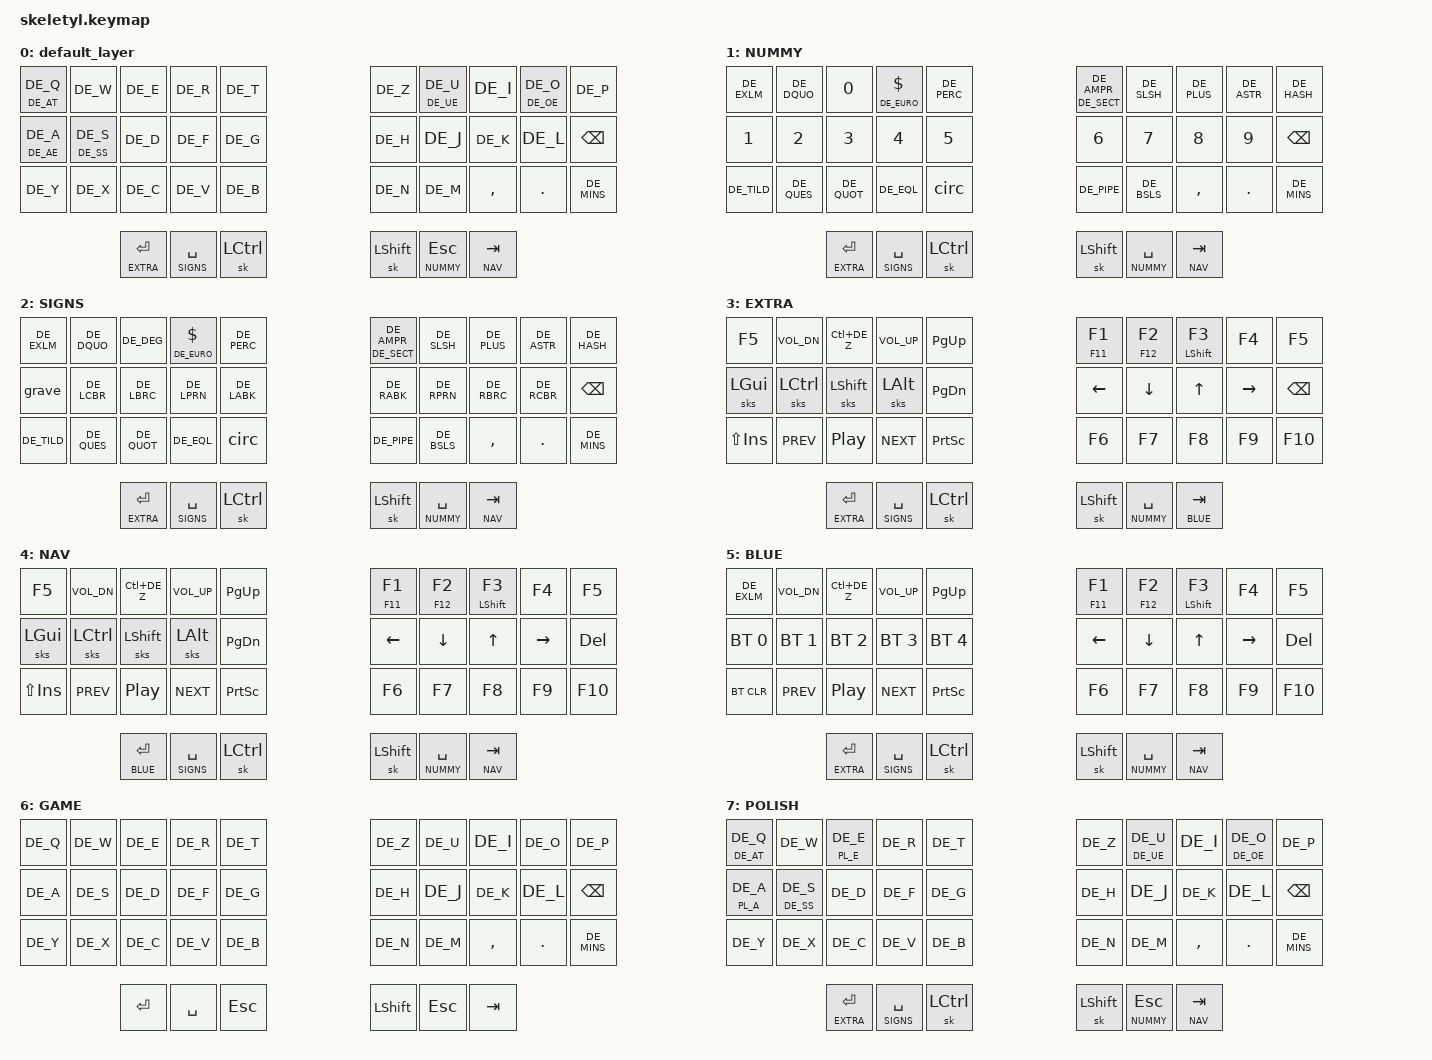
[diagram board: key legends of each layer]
#include "german-keymap.h"
#include <behaviors.dtsi>
#include <dt-bindings/zmk/keys.h>
#include <dt-bindings/zmk/bt.h>


#define DEFAULT 0
#define NUMMY   1
#define SIGNS   2
#define EXTRA   3
#define NAV   4
#define BLUE   5
#define GAME   6
#define POLISH   7

&kscan0 {
    debounce-press-ms = <20>;
    debounce-release-ms = <20>;
};

&mt {
  flavor = "tap-preferred";
  tapping-term-ms = <180>;
} ;
&lt {
  tapping-term-ms = <160>;
} ;
&sk {
    quick-release;
    release-after-ms = <200>;
};

/ {
    behaviors {
      sks: sticky_key_quick_release {
        compatible = "zmk,behavior-sticky-key";
        #binding-cells = <1>;
        bindings = <&kp>;
        release-after-ms = <1000>;
        quick-release;
        ignore-modifiers;
      };
    };
};

/ {
    combos {
        compatible = "zmk,combos";
        combo_rgui {
            timeout-ms = <80>;
            key-positions = <16 17 34>;
            layers = <0 1 2 3 4 5>;
            bindings = <&asw>;
        };
        combo_lgui {
            timeout-ms = <80>;
            key-positions = <12 13 31>;
            layers = <0 1 2 3 4 5>;
            bindings = <&kp LGUI>;
        };
        combo_esc {
            timeout-ms = <80>;
            key-positions = <11 12 13 31>;
            layers = <0 1 2 3 4 5>;
            bindings = <&kp ESC>;
        };
        combo_del {
            timeout-ms = <80>;
            key-positions = <1 2 3>;
            layers = <0 1 2 3 4 5>;
            bindings = <&kp DEL>;
        };
        combo_bspc {
            timeout-ms = <80>;
            key-positions = <21 22 23>;
            layers = <0 1 2 3 4 5>;
            bindings = <&kp BSPC>;
        };
        fishy {
            timeout-ms = <80>;
            key-positions = <17 18 34 >;
            layers = <0 1 2 3 4 5>;
            bindings = <&kp LA(M)>;
        };
        gui {
            timeout-ms = <60>;
            key-positions = <30 35>;
            layers = <0 1 2 3 4 5>;
            bindings = <&sk LGUI>;
        };
        tmux {
            timeout-ms = <80>;
            key-positions = <11 12 31>;
            layers = <0 1 2 3 4 5>;
            bindings = <&kp LA(J)>;
        };
        combo_flip_to_06 {
            timeout-ms = <80>;
            key-positions = <30 31 32>;
            layers = <0>;
            bindings = <&to 6>;
        };

        // When you're on layer 1, the same combo jumps back TO layer 0:
        combo_flip_to_60 {
            timeout-ms = <80>;
            key-positions = <30 31 32>;
            layers = <6>;
            bindings = <&to 0>;
        };

        combo_flip_to_07 {
            timeout-ms = <80>;
            key-positions = <33 34 35>;
            layers = <0>;
            bindings = <&to 7>;
        };

        // When you're on layer 1, the same combo jumps back TO layer 0:
        combo_flip_to_70 {
            timeout-ms = <80>;
            key-positions = <33 34 35>;
            layers = <6>;
            bindings = <&to 0>;
        };
    };
};

/ {

   macros {

        grave: grave {
            label = "grave";
            compatible = "zmk,behavior-macro";
            #binding-cells = <0>;
    wait-ms = <0>;
            bindings
                = <&macro_tap_time 0>
                , <&macro_tap &kp DE_GRV &kp DE_GRV>
                ;
        };

        asw: asw {
            label = "app-switch";
            compatible = "zmk,behavior-macro";
            #binding-cells = <0>;
    wait-ms = <0>;
            bindings
            = <&macro_press &mo NUMMY &kp RGUI>
            , <&macro_pause_for_release>
            , <&macro_release &mo NUMMY &kp RGUI>;
        };

        fish: fish {
            label = "fish";
            compatible = "zmk,behavior-macro";
            #binding-cells = <0>;
    wait-ms = <0>;
            bindings
                = <&macro_tap_time 0>
                //, <&macro_tap &kp DE_OE &kp DE_OE>
                , <&macro_tap &kp DE_OE>
                , <&macro_wait_time 30>
                , <&macro_tap &kp DE_OE>
                ;
        };

        circ: circ {
            label = "circ";
            compatible = "zmk,behavior-macro";
            #binding-cells = <0>;
    wait-ms = <0>;
            bindings
                = <&macro_tap_time 0>
                , <&macro_tap &kp DE_CIRC &kp DE_CIRC>
                ;
        };

    };
    behaviors {
        hm: homerow_mods {
            compatible = "zmk,behavior-hold-tap";
            label = "HOMEROW_MODS";
            #binding-cells = <2>;
            tapping-term-ms = <150>;
            quick-tap-ms = <0>;
            flavor = "tap-preferred";
            bindings = <&kp>, <&kp>;
        };
        pht: positional_hold_tap {
            compatible = "zmk,behavior-hold-tap";
            label = "POSITIONAL_HOLD_TAP";
            #binding-cells = <2>;
            flavor = "hold-preferred";
            tapping-term-ms = <180>;
            quick-tap-ms = <180>;
            bindings = <&kp>, <&kp>;
            hold-trigger-key-positions = <29>;
        };
        td_copy: td_copy {
            compatible = "zmk,behavior-tap-dance";
            label = "TD_COPY";
            #binding-cells = <0>;
            tapping-term-ms = <200>;
            bindings = <&kp LC(DE_C)>, <&kp LS(LC(DE_C))>;
        };
        td_paste: td_paste {
            compatible = "zmk,behavior-tap-dance";
            label = "TD_PASTE";
            #binding-cells = <0>;
            tapping-term-ms = <200>;
            bindings = <&kp LC(DE_V)>, <&kp LS(LC(DE_V))>;
        };
        f111: f111 {
            compatible = "zmk,behavior-tap-dance";
            label = "F111";
            #binding-cells = <0>;
            tapping-term-ms = <200>;
            bindings = <&kp F1>, <&kp F11>;
        };
        f212: f212 {
            compatible = "zmk,behavior-tap-dance";
            label = "F212";
            #binding-cells = <0>;
            tapping-term-ms = <200>;
            bindings = <&kp F2>, <&kp F12>;
        };
    };

    keymap {
        compatible = "zmk,keymap";

        default_layer {
            bindings = <
&pht DE_AT DE_Q  &kp DE_W  &kp DE_E  &kp DE_R  &kp DE_T             &kp DE_Z  &pht DE_UE DE_U  &kp DE_I &pht DE_OE DE_O  &kp DE_P
&pht DE_AE DE_A  &pht DE_SS DE_S  &kp DE_D  &kp DE_F &kp DE_G       &kp DE_H  &kp DE_J  &kp DE_K  &kp DE_L  &kp BSPC
&kp DE_Y  &kp DE_X  &kp DE_C  &kp DE_V  &kp DE_B                    &kp DE_N  &kp DE_M  &kp COMMA  &kp DOT  &kp DE_MINS
             &lt EXTRA RET &lt SIGNS SPACE &sk LCTRL                &sk LSHFT  &lt NUMMY ESC &lt NAV TAB
            >;
        };

        NUMMY  {
                bindings = <
&kp DE_EXLM &kp DE_DQUO &kp N0 &mt DE_EURO DLLR &kp DE_PERC        &mt DE_SECT DE_AMPR &kp DE_SLSH &kp DE_PLUS &kp DE_ASTR &kp DE_HASH
&kp N1 &kp N2 &kp N3 &kp N4 &kp N5                                 &kp N6 &kp N7 &kp N8 &kp N9 &kp BSPC
&kp DE_TILD &kp DE_QUES &kp DE_QUOT &kp DE_EQL &circ               &kp DE_PIPE &kp DE_BSLS &kp COMMA &kp DOT &kp DE_MINS
               &lt EXTRA RET &lt SIGNS SPACE &sk LCTRL                 &sk LSHFT  &lt NUMMY SPACE &lt NAV TAB
                >;
            };

        SIGNS  {
                bindings = <
&kp DE_EXLM &kp DE_DQUO &kp DE_DEG &mt DE_EURO DLLR &kp DE_PERC  &mt DE_SECT DE_AMPR &kp DE_SLSH &kp DE_PLUS &kp DE_ASTR &kp DE_HASH
&grave &kp DE_LCBR &kp DE_LBRC &kp DE_LPRN &kp DE_LABK           &kp DE_RABK &kp DE_RPRN &kp DE_RBRC &kp DE_RCBR &kp BSPC
&kp DE_TILD &kp DE_QUES &kp DE_QUOT &kp DE_EQL &circ             &kp DE_PIPE &kp DE_BSLS &kp COMMA &kp DOT &kp DE_MINS
               // &lt EXTRA RET &mo EXTRA &lt SIGNS SPACE &sk LCTRL                 &sk LSHFT  &lt NUMMY SPACE &lt NAV TAB 
               &lt EXTRA RET &lt SIGNS SPACE &sk LCTRL                 &sk LSHFT  &lt NUMMY SPACE &lt NAV TAB
                >;
            };

         EXTRA {
                bindings = <
&kp F5 &kp C_VOL_DN &kp LC(DE_Z) &kp C_VOL_UP &kp PG_UP   &mt F11 F1 &mt F12 F2 &hm LSHFT F3 &kp F4 &kp F5
&sks LGUI &sks LCTRL &sks LSHFT &sks LALT &kp PG_DN                &kp LEFT &kp DOWN &kp UP &kp RIGHT &kp BSPC
&kp LS(INS) &kp C_PREV &kp C_PP &kp C_NEXT &kp PSCRN           &kp F6 &kp F7 &kp F8 &kp F9 &kp F10
             &lt EXTRA RET &lt SIGNS SPACE &sk LCTRL                 &sk LSHFT  &lt NUMMY SPACE &lt BLUE TAB
           >;
        };
         NAV {
                bindings = <
&kp F5 &kp C_VOL_DN &kp LC(DE_Z) &kp C_VOL_UP &kp PG_UP        &mt F11 F1 &mt F12 F2 &hm LSHFT F3 &kp F4 &kp F5
&sks LGUI &sks LCTRL &sks LSHFT &sks LALT &kp PG_DN                &kp LEFT &kp DOWN &kp UP &kp RIGHT &kp DEL 
&kp LS(INS) &kp C_PREV &kp C_PP &kp C_NEXT &kp PSCRN                   &kp F6 &kp F7 &kp F8 &kp F9 &kp F10
               &lt BLUE RET &lt SIGNS SPACE &sk LCTRL                 &sk LSHFT  &lt NUMMY SPACE &lt NAV TAB
           >;
        };
         BLUE {
                bindings = <
&kp DE_EXLM &kp C_VOL_DN &kp LC(DE_Z) &kp C_VOL_UP &kp PG_UP        &mt F11 F1 &mt F12 F2 &hm LSHFT F3 &kp F4 &kp F5
&bt BT_SEL 0 &bt BT_SEL 1 &bt BT_SEL 2 &bt BT_SEL 3 &bt BT_SEL 4    &kp LEFT &kp DOWN &kp UP &kp RIGHT &kp DEL
&bt BT_CLR &kp C_PREV &kp C_PP &kp C_NEXT &kp PSCRN                   &kp F6 &kp F7 &kp F8 &kp F9 &kp F10
               &lt EXTRA RET &lt SIGNS SPACE &sk LCTRL                 &sk LSHFT  &lt NUMMY SPACE &lt NAV TAB
           >;
        };

        GAME {
            bindings = <
&kp DE_Q  &kp DE_W  &kp DE_E  &kp DE_R  &kp DE_T             &kp DE_Z  &kp DE_U  &kp DE_I &kp DE_O  &kp DE_P
&kp DE_A  &kp DE_S  &kp DE_D  &kp DE_F &kp DE_G       &kp DE_H  &kp DE_J  &kp DE_K  &kp DE_L  &kp BSPC
&kp DE_Y  &kp DE_X  &kp DE_C  &kp DE_V  &kp DE_B                    &kp DE_N  &kp DE_M  &kp COMMA  &kp DOT  &kp DE_MINS
             &kp ENTER &kp SPACE &kp ESC                &kp LSHFT &kp ESC &kp TAB
            >;
        };

        POLISH {
            bindings = <
&pht DE_AT DE_Q  &kp DE_W  &pht PL_E DE_E  &kp DE_R  &kp DE_T             &kp DE_Z  &pht DE_UE DE_U  &kp DE_I &pht DE_OE DE_O  &kp DE_P
&pht PL_A DE_A  &pht DE_SS DE_S  &kp DE_D  &kp DE_F &kp DE_G       &kp DE_H  &kp DE_J  &kp DE_K  &kp DE_L  &kp BSPC
&kp DE_Y  &kp DE_X  &kp DE_C  &kp DE_V  &kp DE_B                    &kp DE_N  &kp DE_M  &kp COMMA  &kp DOT  &kp DE_MINS
             &lt EXTRA RET &lt SIGNS SPACE &sk LCTRL                &sk LSHFT  &lt NUMMY ESC &lt NAV TAB
            >;
        };
    };
};

